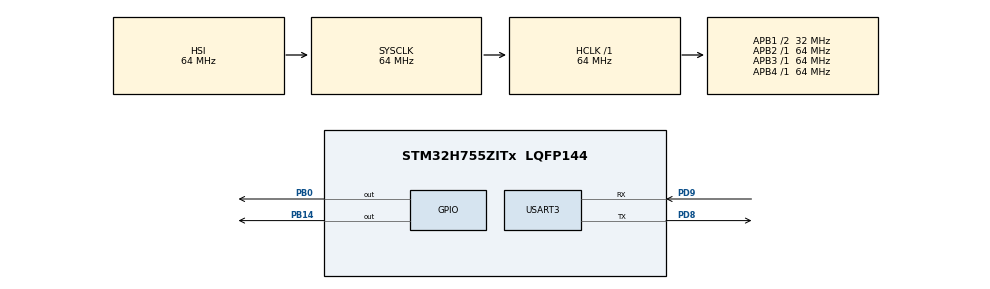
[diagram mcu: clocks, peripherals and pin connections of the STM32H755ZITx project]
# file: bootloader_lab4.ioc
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CortexM4.IPs=FATFS_M4\:I,FREERTOS_M4\:I,IWDG2\:I,RCC,WWDG2\:I,DMA,BDMA,MDMA,NVIC2\:I,ETH,DEBUG,PDM2PCM_M4\:I,PWR,RESMGR_UTILITY,SYS_M4\:I,USB_DEVICE_M4\:I,USB_HOST_M4\:I,CORTEX_M4\:I,GPIO,OPENAMP_M4\:I,VREFBUF,NUCLEO-H755ZI-Q
CortexM7.IPs=FATFS_M7\:I,FREERTOS_M7\:I,IWDG1\:I,RCC\:I,WWDG1\:I,DMA\:I,BDMA\:I,MDMA\:I,NVIC1\:I,ETH\:I,USART3\:I,USB_OTG_FS\:I,USB_OTG_FS1\:I,SYS\:I,CORTEX_M7\:I,DEBUG\:I,PDM2PCM_M7\:I,PWR\:I,RESMGR_UTILITY\:I,USB_DEVICE_M7\:I,USB_HOST_M7\:I,GPIO\:I,OPENAMP_M7\:I,VREFBUF\:I,NUCLEO-H755ZI-Q\:I,CRC\:I
CortexM7.Pins=PB0,PB14
Mcu.Family=STM32H7
Mcu.Name=STM32H755ZITx
Mcu.Package=LQFP144
NVIC1.PriorityGroup=NVIC_PRIORITYGROUP_4
NVIC2.PriorityGroup=NVIC_PRIORITYGROUP_4
PA1.PinAttribute=CortexM7
PA1.Signal=ETH_REF_CLK
PA11.PinAttribute=CortexM7
PA11.Signal=USB_OTG_FS_DM
PA12.PinAttribute=CortexM7
PA12.Signal=USB_OTG_FS_DP
PA2.PinAttribute=CortexM7
PA2.Signal=ETH_MDIO
PA7.PinAttribute=CortexM7
PA7.Signal=ETH_CRS_DV
PA8.PinAttribute=CortexM7
PA8.Signal=USB_OTG_FS_SOF
PA9.PinAttribute=CortexM7
PA9.Signal=USB_OTG_FS_VBUS
PB0.PinAttribute=CortexM7
PB0.Signal=GPIO_Output
PB13.PinAttribute=CortexM7
PB13.Signal=ETH_TXD1
PB14.PinAttribute=CortexM7
PB14.Signal=GPIO_Output
PC1.PinAttribute=CortexM7
PC1.Signal=ETH_MDC
PC14-OSC32_IN\ (OSC32_IN).PinAttribute=Free
PC14-OSC32_IN\ (OSC32_IN).Signal=RCC_OSC32_IN
PC15-OSC32_OUT\ (OSC32_OUT).PinAttribute=Free
PC15-OSC32_OUT\ (OSC32_OUT).Signal=RCC_OSC32_OUT
PC4.PinAttribute=CortexM7
PC4.Signal=ETH_RXD0
PC5.PinAttribute=CortexM7
PC5.Signal=ETH_RXD1
PD8.Mode=Asynchronous
PD8.PinAttribute=CortexM7
PD8.Signal=USART3_TX
PD9.Mode=Asynchronous
PD9.PinAttribute=CortexM7
PD9.Signal=USART3_RX
PG11.PinAttribute=CortexM7
PG11.Signal=ETH_TX_EN
PG13.PinAttribute=CortexM7
PG13.Signal=ETH_TXD0
PH0-OSC_IN\ (PH0).PinAttribute=Free
PH0-OSC_IN\ (PH0).Signal=RCC_OSC_IN
PH1-OSC_OUT\ (PH1).PinAttribute=Free
PH1-OSC_OUT\ (PH1).Signal=RCC_OSC_OUT
ProjectManager.HeapSize=M4-0x200,M7-0x200
ProjectManager.StackSize=M4-0x400,M7-0x400
ProjectManager.TargetToolchain=STM32CubeIDE
RCC.ADCFreq_Value=129000000
RCC.APB1Freq_Value=32000000
RCC.APB2Freq_Value=64000000
RCC.APB3Freq_Value=64000000
RCC.APB4Freq_Value=64000000
RCC.CortexFreq_Value=64000000
RCC.D2PPRE1=RCC_APB1_DIV2
RCC.DIVM1=5
RCC.DIVN1=48
RCC.DIVQ1=5
RCC.HCLKFreq_Value=64000000
RCC.PLL2FRACN=0
RCC.PLL3FRACN=0
RCC.PLLFRACN=0
RCC.SYSCLKFreq_VALUE=64000000
RCC.SupplySource=PWR_DIRECT_SMPS_SUPPLY
RCC.USBFreq_Value=122880000
USART3.VirtualMode-Asynchronous=VM_ASYNC
VP_SYS_M4_VS_Systick.Mode=SysTick
board=NUCLEO-H755ZI-Q

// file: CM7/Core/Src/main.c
/* USER CODE BEGIN Header */
/**
  ******************************************************************************
  * @file           : main.c
  * @brief          : Main program body
  ******************************************************************************
  * @attention
  *
  * Copyright (c) 2026 STMicroelectronics.
  * All rights reserved.
  *
  * This software is licensed under terms that can be found in the LICENSE file
  * in the root directory of this software component.
  * If no LICENSE file comes with this software, it is provided AS-IS.
  *
  ******************************************************************************
  */
/* USER CODE END Header */
#include "main.h"

/* USER CODE BEGIN Includes */
#include "string.h"
#include "stdio.h"
#include "cmox_crypto.h"
#include "stdint.h"
#include "ecc_pub_key.h"
#include "fwauth.h"
/* USER CODE END Includes */

/* USER CODE BEGIN PD */

/* DUAL_CORE_BOOT_SYNC_SEQUENCE: Define for dual core boot synchronization    */
/*                             demonstration code based on hardware semaphore */
/* This define is present in both CM7/CM4 projects                            */
/* To comment when developping/debugging on a single core                     */
#define DUAL_CORE_BOOT_SYNC_SEQUENCE

#if defined(DUAL_CORE_BOOT_SYNC_SEQUENCE)
#ifndef HSEM_ID_0
#define HSEM_ID_0 (0U) /* HW semaphore 0*/
#endif
#endif /* DUAL_CORE_BOOT_SYNC_SEQUENCE */

/* USER CODE END PD */

UART_HandleTypeDef huart3;

/* USER CODE BEGIN PV */
static uint8_t ecc_work_buf[2048];   /* check the minimum size in the cmox docs */
/* USER CODE END PV */

void SystemClock_Config(void);
static void MX_GPIO_Init(void);
static void MX_USART3_UART_Init(void);

/* USER CODE BEGIN 0 */
static void print(const char *c){
	HAL_UART_Transmit(&huart3, (uint8_t *)c,(uint16_t)strlen(c),100);
}

#ifndef UID_BASE
#define UID_BASE 0x1FF1E800UL
#endif
static  void print_uid(void){
	uint32_t w0=*(volatile uint32_t *)(UID_BASE+0X00U);
	uint32_t w1=*(volatile uint32_t *)(UID_BASE+0X04U);
	uint32_t w2=*(volatile uint32_t *)(UID_BASE+0X08U);
	char line[64];
	snprintf(line, sizeof line, "UID: %08lX-%08lX-%08lX\r\n",
	           (unsigned long)w0, (unsigned long)w1, (unsigned long)w2);
	  print(line);

}
#define APP_ADDRESS   0x08020400UL
#define APP_FLASH_END 0x08100000UL   /* where the CM4 image starts */

static int app_is_valid(uint32_t sp, uint32_t reset)
{
  if (sp <= 0x24000000UL || sp > 0x24080000UL) return 0;           /* SP must be inside AXI SRAM */
  if (reset < APP_ADDRESS || reset >= APP_FLASH_END) return 0;     /* reset handler must be in app flash */
  if ((reset & 1U) == 0U) return 0;                                /* Thumb bit must be set */
  return 1;
}

static void check_app(void)
{
  uint32_t sp  = *(volatile uint32_t *)APP_ADDRESS;
  uint32_t rst = *(volatile uint32_t *)(APP_ADDRESS + 4U);
  char line[80];

  snprintf(line, sizeof line, "APP SP=%08lX RESET=%08lX %s\r\n",
           (unsigned long)sp, (unsigned long)rst,
           app_is_valid(sp, rst) ? "valid" : "INVALID");
  print(line);
}
static void jump_to_application(void)
{
  uint32_t sp  = *(volatile uint32_t *)APP_ADDRESS;
  uint32_t rst = *(volatile uint32_t *)(APP_ADDRESS + 4U);

  if (!app_is_valid(sp, rst)) return;

  print("Jumping to application\r\n");

  __disable_irq();
  HAL_UART_DeInit(&huart3);
  SysTick->CTRL = 0; SysTick->LOAD = 0; SysTick->VAL = 0;
  for (int i = 0; i < 8; i++) { NVIC->ICER[i] = 0xFFFFFFFFUL; NVIC->ICPR[i] = 0xFFFFFFFFUL; }

  SCB->VTOR = APP_ADDRESS;
  __DSB(); __ISB();
  __enable_irq();
  __asm volatile ("msr msp, %0 \n bx %1 \n" : : "r"(sp), "r"(rst));
}

//hashing
static void print_hex(const uint8_t *d,size_t n){
	static const char hx[]="0123456789abcdef";
	char buf[2*32+3];
	size_t i;
	for(i=0;i<n&&i<32;i++){
		buf[2*i]=hx[d[i]>>4];
		buf[2*i+1]=hx[d[i]&0x0F];

	}
	buf[2*i]='\r';buf[2*i+1]='\n';buf[2*i+2]='\0';
	print(buf);
}

static int hash_matches(const uint8_t *data, uint32_t len, const uint8_t *expected)
{
    uint8_t d[CMOX_SHA256_SIZE];
    size_t  dl = 0;
    if (cmox_hash_compute(CMOX_SHA256_ALGO, data, len, d, sizeof d, &dl) != CMOX_HASH_SUCCESS
        || dl != CMOX_SHA256_SIZE) return 0;
    return memcmp(d, expected, CMOX_SHA256_SIZE) == 0;
}

static int verify_application(void)
{
    const FW_Meta_t *m = (const FW_Meta_t *)FW_META_ADDR;

    /* 1. sanity: never read outside the allowed regions */
    if (m->fw_magic != FW_MAGIC)                                   { print("FAIL: magic\r\n"); return 0; }
    if (m->fw_cm7_size == 0 || m->fw_cm7_size > FW_CM7_MAX_SIZE)   { print("FAIL: cm7 size\r\n"); return 0; }
    if (m->fw_cm4_size == 0 || m->fw_cm4_size > FW_CM4_MAX_SIZE)   { print("FAIL: cm4 size\r\n"); return 0; }

    /* 2. signature over SHA-256 of the 128-byte signed block */
    uint8_t digest[CMOX_SHA256_SIZE];
    size_t  dlen = 0;
    if (cmox_hash_compute(CMOX_SHA256_ALGO, (const uint8_t *)m, FW_SIGNED_LEN,
                          digest, sizeof digest, &dlen) != CMOX_HASH_SUCCESS)
                                                                   { print("FAIL: meta hash\r\n"); return 0; }
    cmox_ecc_handle_t ecc;
    uint32_t fault = CMOX_ECC_AUTH_FAIL;

    cmox_ecc_construct(&ecc, CMOX_ECC256_MATH_FUNCS, ecc_work_buf, sizeof ecc_work_buf);

    cmox_ecc_retval_t rv = cmox_ecdsa_verify(&ecc, CMOX_ECC_SECP256R1_LOWMEM,
                                             SIGN_ECC_PUB_KEY, sizeof SIGN_ECC_PUB_KEY,
                                             digest, sizeof digest,
                                             m->meta_sig, sizeof m->meta_sig, &fault);
    cmox_ecc_cleanup(&ecc);
    if (rv != CMOX_ECC_AUTH_SUCCESS || fault != CMOX_ECC_AUTH_SUCCESS)
                                                                   { print("FAIL: signature\r\n"); return 0; }
    print("signature OK\r\n");

    /* 3. the real code must match the hashes inside the (now trusted) block */
    if (!hash_matches((const uint8_t *)FW_CM7_ADDR, m->fw_cm7_size, m->fw_cm7_tag))
                                                                   { print("FAIL: CM7 digest\r\n"); return 0; }
    print("CM7 digest OK\r\n");
    if (!hash_matches((const uint8_t *)FW_CM4_ADDR, m->fw_cm4_size, m->fw_cm4_tag))
                                                                   { print("FAIL: CM4 digest\r\n"); return 0; }
    print("CM4 digest OK\r\n");
    return 1;
}
/* USER CODE END 0 */

int main(void)
{

/* USER CODE BEGIN Boot_Mode_Sequence_0 */
#if defined(DUAL_CORE_BOOT_SYNC_SEQUENCE)
  int32_t timeout;
#endif /* DUAL_CORE_BOOT_SYNC_SEQUENCE */
/* USER CODE END Boot_Mode_Sequence_0 */

/* USER CODE BEGIN Boot_Mode_Sequence_1 */
#if defined(DUAL_CORE_BOOT_SYNC_SEQUENCE)
  /* Wait until CPU2 boots and enters in stop mode or timeout*/
  timeout = 0xFFFF;
  while((__HAL_RCC_GET_FLAG(RCC_FLAG_D2CKRDY) != RESET) && (timeout-- > 0));
  if ( timeout < 0 )
  {
  Error_Handler();
  }
#endif /* DUAL_CORE_BOOT_SYNC_SEQUENCE */
/* USER CODE END Boot_Mode_Sequence_1 */
  /* MCU Configuration--------------------------------------------------------*/

  /* Reset of all peripherals, Initializes the Flash interface and the Systick. */
  HAL_Init();

  /* Configure the system clock */
  SystemClock_Config();
/* USER CODE BEGIN Boot_Mode_Sequence_2 */
//#if defined(DUAL_CORE_BOOT_SYNC_SEQUENCE)
#if 0
/* When system initialization is finished, Cortex-M7 will release Cortex-M4 by means of
HSEM notification */
/*HW semaphore Clock enable*/
__HAL_RCC_HSEM_CLK_ENABLE();
/*Take HSEM */
//HAL_HSEM_FastTake(HSEM_ID_0);
/*Release HSEM in order to notify the CPU2(CM4)*/
HAL_HSEM_Release(HSEM_ID_0,0);
/* wait until CPU2 wakes up from stop mode */
timeout = 0xFFFF;
while((__HAL_RCC_GET_FLAG(RCC_FLAG_D2CKRDY) == RESET) && (timeout-- > 0));
if ( timeout < 0 )
{
Error_Handler();
}
#endif /* DUAL_CORE_BOOT_SYNC_SEQUENCE */
/* USER CODE END Boot_Mode_Sequence_2 */

  /* Initialize all configured peripherals */
  MX_GPIO_Init();
  MX_USART3_UART_Init();
  /* USER CODE BEGIN 2 */
  print("\r\n=== ELE304 bootloader ===\r\n");
  print_uid();

  __HAL_RCC_CRC_CLK_ENABLE();
  if(cmox_initialize(NULL)!=CMOX_INIT_SUCCESS){
  	print("cmox init FAIL\r\n");
  	while(1){}
  }
  print("cmox init ok\r\n");
//  uint8_t digest[CMOX_SHA256_SIZE];
//  size_t dlen=0;
//  cmox_hash_retval_t hr;
//  const uint8_t abc[]={'a','b','c'};
//  hr=cmox_hash_compute(CMOX_SHA256_ALGO,abc,3,digest,CMOX_SHA256_SIZE,&dlen);
//
//  print(hr==CMOX_HASH_SUCCESS ? "SHA256(abc):\r\n":"SHA256 FAIL\r\n");
//  print_hex(digest,dlen);
//  hr=cmox_hash_compute(CMOX_SHA256_ALGO,(const uint8_t *)0x08020400U,1024,digest,CMOX_SHA256_SIZE,&dlen);
//  print(hr==CMOX_HASH_SUCCESS ? "SHA256(app 1kb):\r\n":"SHA256 FAIL\r\n");
//  print_hex(digest,dlen);
//  print("first 16 bytes @0x08020400:\r\n");
//  print_hex((const uint8_t *)0x08020400U, 16);
//  check_app();
//   jump_to_application();
//   print("No valid application\r\n");   /* only reached if the jump was refused */
  print("\r\n=== ELE304 bootloader ===\r\n");
  print_uid();

  if (cmox_initialize(NULL) != CMOX_INIT_SUCCESS) { print("cmox init FAIL\r\n"); while (1) {} }

  if (!verify_application()) {
      print("SECURE BOOT: verification FAILED, not booting\r\n");
      while (1) {}
  }
  print("SECURE BOOT: image verified\r\n");

  check_app();
  jump_to_application();
  print("No valid application\r\n");

  /* USER CODE END 2 */

  /* Infinite loop */
  while (1)
  {

  }
}

void SystemClock_Config(void)
{
  RCC_OscInitTypeDef RCC_OscInitStruct = {0};
  RCC_ClkInitTypeDef RCC_ClkInitStruct = {0};

  /** Supply configuration update enable
  */
  HAL_PWREx_ConfigSupply(PWR_DIRECT_SMPS_SUPPLY);

  /** Configure the main internal regulator output voltage
  */
  __HAL_PWR_VOLTAGESCALING_CONFIG(PWR_REGULATOR_VOLTAGE_SCALE3);

  while(!__HAL_PWR_GET_FLAG(PWR_FLAG_VOSRDY)) {}

  /** Initializes the RCC Oscillators according to the specified parameters
  * in the RCC_OscInitTypeDef structure.
  */
  RCC_OscInitStruct.OscillatorType = RCC_OSCILLATORTYPE_HSI;
  RCC_OscInitStruct.HSIState = RCC_HSI_DIV1;
  RCC_OscInitStruct.HSICalibrationValue = RCC_HSICALIBRATION_DEFAULT;
  RCC_OscInitStruct.PLL.PLLState = RCC_PLL_NONE;
  if (HAL_RCC_OscConfig(&RCC_OscInitStruct) != HAL_OK)
  {
    Error_Handler();
  }

  /** Initializes the CPU, AHB and APB buses clocks
  */
  RCC_ClkInitStruct.ClockType = RCC_CLOCKTYPE_HCLK|RCC_CLOCKTYPE_SYSCLK
                              |RCC_CLOCKTYPE_PCLK1|RCC_CLOCKTYPE_PCLK2
                              |RCC_CLOCKTYPE_D3PCLK1|RCC_CLOCKTYPE_D1PCLK1;
  RCC_ClkInitStruct.SYSCLKSource = RCC_SYSCLKSOURCE_HSI;
  RCC_ClkInitStruct.SYSCLKDivider = RCC_SYSCLK_DIV1;
  RCC_ClkInitStruct.AHBCLKDivider = RCC_HCLK_DIV1;
  RCC_ClkInitStruct.APB3CLKDivider = RCC_APB3_DIV1;
  RCC_ClkInitStruct.APB1CLKDivider = RCC_APB1_DIV2;
  RCC_ClkInitStruct.APB2CLKDivider = RCC_APB2_DIV1;
  RCC_ClkInitStruct.APB4CLKDivider = RCC_APB4_DIV1;

  if (HAL_RCC_ClockConfig(&RCC_ClkInitStruct, FLASH_LATENCY_1) != HAL_OK)
  {
    Error_Handler();
  }
}

static void MX_USART3_UART_Init(void)
{

  huart3.Instance = USART3;
  huart3.Init.BaudRate = 115200;
  huart3.Init.WordLength = UART_WORDLENGTH_8B;
  huart3.Init.StopBits = UART_STOPBITS_1;
  huart3.Init.Parity = UART_PARITY_NONE;
  huart3.Init.Mode = UART_MODE_TX_RX;
  huart3.Init.HwFlowCtl = UART_HWCONTROL_NONE;
  huart3.Init.OverSampling = UART_OVERSAMPLING_16;
  huart3.Init.OneBitSampling = UART_ONE_BIT_SAMPLE_DISABLE;
  huart3.Init.ClockPrescaler = UART_PRESCALER_DIV1;
  huart3.AdvancedInit.AdvFeatureInit = UART_ADVFEATURE_NO_INIT;
  if (HAL_UART_Init(&huart3) != HAL_OK)
  {
    Error_Handler();
  }
  if (HAL_UARTEx_SetTxFifoThreshold(&huart3, UART_TXFIFO_THRESHOLD_1_8) != HAL_OK)
  {
    Error_Handler();
  }
  if (HAL_UARTEx_SetRxFifoThreshold(&huart3, UART_RXFIFO_THRESHOLD_1_8) != HAL_OK)
  {
    Error_Handler();
  }
  if (HAL_UARTEx_DisableFifoMode(&huart3) != HAL_OK)
  {
    Error_Handler();
  }

}

static void MX_GPIO_Init(void)
{
  GPIO_InitTypeDef GPIO_InitStruct = {0};

  /* GPIO Ports Clock Enable */
  __HAL_RCC_GPIOC_CLK_ENABLE();
  __HAL_RCC_GPIOA_CLK_ENABLE();
  __HAL_RCC_GPIOB_CLK_ENABLE();
  __HAL_RCC_GPIOD_CLK_ENABLE();
  __HAL_RCC_GPIOG_CLK_ENABLE();

  /*Configure GPIO pin Output Level */
  HAL_GPIO_WritePin(GPIOB, GPIO_PIN_0|GPIO_PIN_14, GPIO_PIN_RESET);

  /*Configure GPIO pins : PC1 PC4 PC5 */
  GPIO_InitStruct.Pin = GPIO_PIN_1|GPIO_PIN_4|GPIO_PIN_5;
  GPIO_InitStruct.Mode = GPIO_MODE_AF_PP;
  GPIO_InitStruct.Pull = GPIO_NOPULL;
  GPIO_InitStruct.Speed = GPIO_SPEED_FREQ_HIGH;
  GPIO_InitStruct.Alternate = GPIO_AF11_ETH;
  HAL_GPIO_Init(GPIOC, &GPIO_InitStruct);

  /*Configure GPIO pins : PA1 PA2 PA7 */
  GPIO_InitStruct.Pin = GPIO_PIN_1|GPIO_PIN_2|GPIO_PIN_7;
  GPIO_InitStruct.Mode = GPIO_MODE_AF_PP;
  GPIO_InitStruct.Pull = GPIO_NOPULL;
  GPIO_InitStruct.Speed = GPIO_SPEED_FREQ_HIGH;
  GPIO_InitStruct.Alternate = GPIO_AF11_ETH;
  HAL_GPIO_Init(GPIOA, &GPIO_InitStruct);

  /*Configure GPIO pins : PB0 PB14 */
  GPIO_InitStruct.Pin = GPIO_PIN_0|GPIO_PIN_14;
  GPIO_InitStruct.Mode = GPIO_MODE_OUTPUT_PP;
  GPIO_InitStruct.Pull = GPIO_NOPULL;
  GPIO_InitStruct.Speed = GPIO_SPEED_FREQ_LOW;
  HAL_GPIO_Init(GPIOB, &GPIO_InitStruct);

  /*Configure GPIO pin : PB13 */
  GPIO_InitStruct.Pin = GPIO_PIN_13;
  GPIO_InitStruct.Mode = GPIO_MODE_AF_PP;
  GPIO_InitStruct.Pull = GPIO_NOPULL;
  GPIO_InitStruct.Speed = GPIO_SPEED_FREQ_HIGH;
  GPIO_InitStruct.Alternate = GPIO_AF11_ETH;
  HAL_GPIO_Init(GPIOB, &GPIO_InitStruct);

  /*Configure GPIO pins : PA8 PA11 PA12 */
  GPIO_InitStruct.Pin = GPIO_PIN_8|GPIO_PIN_11|GPIO_PIN_12;
  GPIO_InitStruct.Mode = GPIO_MODE_AF_PP;
  GPIO_InitStruct.Pull = GPIO_NOPULL;
  GPIO_InitStruct.Speed = GPIO_SPEED_FREQ_LOW;
  GPIO_InitStruct.Alternate = GPIO_AF10_OTG1_FS;
  HAL_GPIO_Init(GPIOA, &GPIO_InitStruct);

  /*Configure GPIO pins : PG11 PG13 */
  GPIO_InitStruct.Pin = GPIO_PIN_11|GPIO_PIN_13;
  GPIO_InitStruct.Mode = GPIO_MODE_AF_PP;
  GPIO_InitStruct.Pull = GPIO_NOPULL;
  GPIO_InitStruct.Speed = GPIO_SPEED_FREQ_HIGH;
  GPIO_InitStruct.Alternate = GPIO_AF11_ETH;
  HAL_GPIO_Init(GPIOG, &GPIO_InitStruct);

}

void Error_Handler(void)
{
  __disable_irq();
  while (1)
  {
  }
}
